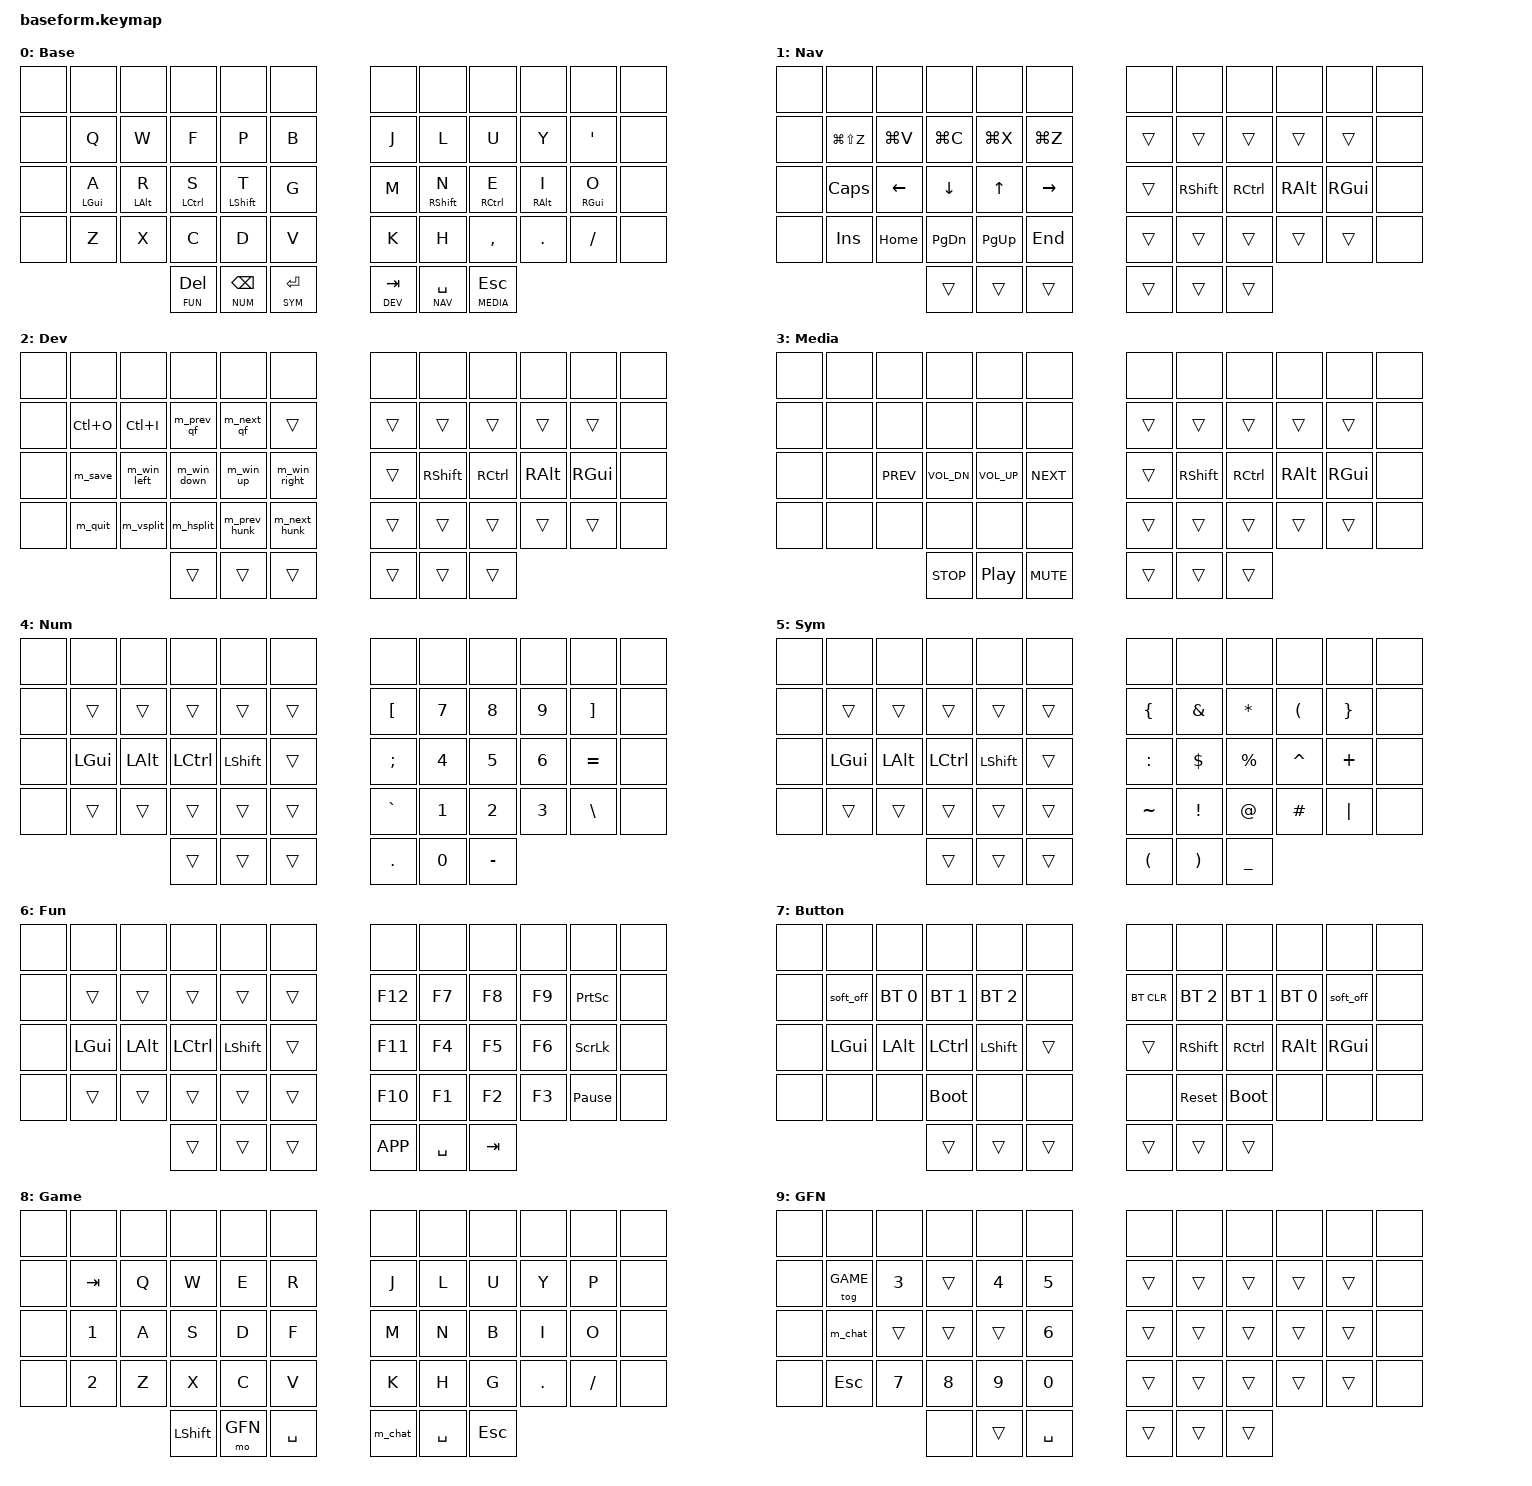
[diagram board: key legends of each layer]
#include <behaviors.dtsi>
#include <dt-bindings/zmk/keys.h>
#include <dt-bindings/zmk/bt.h>
#include <dt-bindings/zmk/ext_power.h>
#include <dt-bindings/zmk/outputs.h>
#include <dt-bindings/zmk/mouse.h>

// Layer definitions
#define BASE 0
#define NAV  1
#define DEV 2
#define MEDIA 3
#define NUM  4
#define SYM  5
#define FUN  6
#define BUTTON 7
#define GAME 8
#define GFN 9

&soft_off {
    hold-time-ms = <2000>;
};

/ {

  behaviors {
    // Home row mods - left hand
    hm_l: homerow_mods_left {
      compatible = "zmk,behavior-hold-tap";
      label = "HOMEROW_MODS_LEFT";
      #binding-cells = <2>;
      tapping-term-ms = <170>;
      quick-tap-ms = <175>;
      require-prior-idle-ms = <150>;
      flavor = "balanced";
      bindings = <&kp>, <&kp>;
      hold-trigger-key-positions = <6 7 8 9 10 11 18 19 20 21 22 23 30 31 32 33 34 35 42 43 44 45 46 47 51 52 53>; // right hand + right thumbs (54-key)
      hold-trigger-on-release;
    };

    // Home row mods - right hand
    hm_r: homerow_mods_right {
      compatible = "zmk,behavior-hold-tap";
      label = "HOMEROW_MODS_RIGHT";
      #binding-cells = <2>;
      tapping-term-ms = <170>;
      quick-tap-ms = <175>;
      require-prior-idle-ms = <150>;
      flavor = "balanced";
      bindings = <&kp>, <&kp>;
      hold-trigger-key-positions = <0 1 2 3 4 5 12 13 14 15 16 17 24 25 26 27 28 29 36 37 38 39 40 41 48 49 50>; // left hand + left thumbs (54-key)
      hold-trigger-on-release;
    };

    // Layer tap for thumb keys
    lt_spc: layer_tap_space {
      compatible = "zmk,behavior-hold-tap";
      label = "LAYER_TAP_SPACE";
      #binding-cells = <2>;
      tapping-term-ms = <170>;
      quick-tap-ms = <175>;
      flavor = "tap-preferred";
      bindings = <&mo>, <&kp>;
    };

    lt_bspc: layer_tap_backspace {
      compatible = "zmk,behavior-hold-tap";
      label = "LAYER_TAP_BACKSPACE";
      #binding-cells = <2>;
      tapping-term-ms = <170>;
      quick-tap-ms = <175>;
      flavor = "tap-preferred";
      bindings = <&mo>, <&kp>;
    };
  };

  combos {
    compatible = "zmk,combos";

    // CMD+C (Copy) - using left GUI
    combo_copy_left {
      timeout-ms = <40>;
      require-prior-idle-ms = <150>;
      key-positions = <25 39>;  // A(GUI) + C
      bindings = <&kp LG(C)>;
      layers = <0>;
    };

    // CMD+C (Copy) - using right GUI
    combo_copy_right {
      timeout-ms = <40>;
      require-prior-idle-ms = <150>;
      key-positions = <34 39>;  // O(GUI) + C
      bindings = <&kp LG(C)>;
      layers = <0>;
    };

    // CMD+V (Paste) - using left GUI
    combo_paste_left {
      timeout-ms = <40>;
      require-prior-idle-ms = <150>;
      key-positions = <25 41>;  // A(GUI) + V
      bindings = <&kp LG(V)>;
      layers = <0>;
    };

    // CMD+V (Paste) - using right GUI
    combo_paste_right {
      timeout-ms = <40>;
      require-prior-idle-ms = <150>;
      key-positions = <34 41>;  // O(GUI) + V
      bindings = <&kp LG(V)>;
      layers = <0>;
    };

    // CMD+X (Cut) - using left GUI
    combo_cut_left {
      timeout-ms = <40>;
      require-prior-idle-ms = <150>;
      key-positions = <25 38>;  // A(GUI) + X
      bindings = <&kp LG(X)>;
      layers = <0>;
    };

    // CMD+X (Cut) - using right GUI
    combo_cut_right {
      timeout-ms = <40>;
      require-prior-idle-ms = <150>;
      key-positions = <34 38>;  // O(GUI) + X
      bindings = <&kp LG(X)>;
      layers = <0>;
    };

    // CMD+Z (Undo) - using left GUI
    combo_undo_left {
      timeout-ms = <40>;
      require-prior-idle-ms = <150>;
      key-positions = <25 37>;  // A(GUI) + Z
      bindings = <&kp LG(Z)>;
      layers = <0>;
    };

    // CMD+Z (Undo) - using right GUI
    combo_undo_right {
      timeout-ms = <40>;
      require-prior-idle-ms = <150>;
      key-positions = <34 37>;  // O(GUI) + Z
      bindings = <&kp LG(Z)>;
      layers = <0>;
    };

    // CMD+W (Close) - using left GUI
    combo_close_left {
      timeout-ms = <40>;
      require-prior-idle-ms = <150>;
      key-positions = <25 14>;  // A(GUI) + W
      bindings = <&kp LG(W)>;
      layers = <0>;
    };

    // CMD+W (Close) - using right GUI
    combo_close_right {
      timeout-ms = <40>;
      require-prior-idle-ms = <150>;
      key-positions = <34 14>;  // O(GUI) + W
      bindings = <&kp LG(W)>;
      layers = <0>;
    };

    // CMD+Space (Spotlight) - using left GUI
    combo_spotlight_left {
      timeout-ms = <40>;
      require-prior-idle-ms = <150>;
      key-positions = <25 52>;  // A(GUI) + Space
      bindings = <&kp LG(SPACE)>;
      layers = <0>;
    };

    // CMD+Space (Spotlight) - using right GUI
    combo_spotlight_right {
      timeout-ms = <40>;
      require-prior-idle-ms = <150>;
      key-positions = <34 52>;  // O(GUI) + Space
      bindings = <&kp LG(SPACE)>;
      layers = <0>;
    };

    // CMD+Tab (App Switcher) - using left GUI + TAB thumb
    combo_appswitcher_left {
      timeout-ms = <40>;
      require-prior-idle-ms = <150>;
      key-positions = <25 51>;  // A(GUI) + Tab
      bindings = <&kp LG(TAB)>;
      layers = <0>;
    };

    // CMD+Tab (App Switcher) - using right GUI + TAB thumb
    combo_appswitcher_right {
      timeout-ms = <40>;
      require-prior-idle-ms = <150>;
      key-positions = <34 51>;  // O(GUI) + Tab
      bindings = <&kp LG(TAB)>;
      layers = <0>;
    };

    // Game mode toggle: Q+W+F on BASE or GAME (left top row, pinky side)
    combo_game_toggle {
      timeout-ms = <30>;
      require-prior-idle-ms = <150>;
      key-positions = <13 14 15>;  // Q + W + F
      bindings = <&tog GAME>;
      layers = <0 GAME>;
    };

    // BUTTON layer, momentary while Z+X+C are held on BASE
    combo_button_layer {
      timeout-ms = <50>;
      require-prior-idle-ms = <150>;
      key-positions = <37 38 39>;  // Z + X + C
      bindings = <&mo BUTTON>;
      layers = <0>;
    };
  };

  macros {
    m_save: m_save {
      compatible = "zmk,behavior-macro";
      #binding-cells = <0>;
      bindings = <&kp COLON &kp W &kp RET>;
    };
    m_quit: m_quit {
      compatible = "zmk,behavior-macro";
      #binding-cells = <0>;
      bindings = <&kp COLON &kp Q &kp RET>;
    };
    m_next_hunk: m_next_hunk {
      compatible = "zmk,behavior-macro";
      #binding-cells = <0>;
      bindings = <&kp RBKT &kp C>;
    };
    m_prev_hunk: m_prev_hunk {
      compatible = "zmk,behavior-macro";
      #binding-cells = <0>;
      bindings = <&kp LBKT &kp C>;
    };
    m_next_qf: m_next_qf {
      compatible = "zmk,behavior-macro";
      #binding-cells = <0>;
      bindings = <&kp RBKT &kp Q>;
    };
    m_prev_qf: m_prev_qf {
      compatible = "zmk,behavior-macro";
      #binding-cells = <0>;
      bindings = <&kp LBKT &kp Q>;
    };
    m_win_left: m_win_left {
      compatible = "zmk,behavior-macro";
      #binding-cells = <0>;
      bindings = <&kp LC(W) &kp H>;
    };
    m_win_down: m_win_down {
      compatible = "zmk,behavior-macro";
      #binding-cells = <0>;
      bindings = <&kp LC(W) &kp J>;
    };
    m_win_up: m_win_up {
      compatible = "zmk,behavior-macro";
      #binding-cells = <0>;
      bindings = <&kp LC(W) &kp K>;
    };
    m_win_right: m_win_right {
      compatible = "zmk,behavior-macro";
      #binding-cells = <0>;
      bindings = <&kp LC(W) &kp L>;
    };
    m_vsplit: m_vsplit {
      compatible = "zmk,behavior-macro";
      #binding-cells = <0>;
      bindings = <&kp LC(W) &kp V>;
    };
    m_hsplit: m_hsplit {
      compatible = "zmk,behavior-macro";
      #binding-cells = <0>;
      bindings = <&kp LC(W) &kp S>;
    };

    // Chat: Enter to open the chat box, then leave game mode so Colemak-DH types normally
    m_chat: m_chat {
      compatible = "zmk,behavior-macro";
      #binding-cells = <0>;
      bindings = <&kp RET &tog GAME>;
    };
  };

  keymap {
    compatible = "zmk,keymap";

    // Layer 0: BASE (Colemak Mod-DH with GACS home row mods) - 54 keys
    base_layer {
      display-name = "Base";
      bindings = <
        // Number row (12 keys)
        &none  &none  &none  &none  &none  &none     &none  &none  &none  &none  &none  &none
        // Top letter row (12 keys)
        &none  &kp Q         &kp W         &kp F         &kp P         &kp B       &kp J  &kp L         &kp U         &kp Y         &kp APOS      &none
        // Home row with mods (12 keys)
        &none  &hm_l LGUI A  &hm_l LALT R  &hm_l LCTRL S &hm_l LSHFT T &kp G       &kp M  &hm_r RSHFT N &hm_r RCTRL E &hm_r RALT I  &hm_r RGUI O  &none
        // Bottom row (12 keys)
        &none  &kp Z         &kp X         &kp C         &kp D         &kp V       &kp K  &kp H         &kp COMMA     &kp DOT       &kp FSLH      &none
        // Thumb keys (6 keys)
                                           &lt_bspc FUN DEL  &lt_bspc NUM BSPC  &lt_bspc SYM RET     &lt_spc DEV TAB  &lt_spc NAV SPACE  &lt_spc MEDIA ESC
      >;
    };

    // Layer 1: NAV (Left hand - Navigation with inverted-T arrows) - 54 keys
    nav_layer {
      display-name = "Nav";
      bindings = <
        // Number row
        &none  &none  &none  &none  &none  &none     &none  &none  &none  &none  &none  &none
        // Top row
        &none  &kp LG(LS(Z))  &kp LG(V)  &kp LG(C)  &kp LG(X)  &kp LG(Z)     &trans  &trans  &trans  &trans  &trans  &none
        // Home row
        &none  &kp CAPS  &kp LEFT  &kp DOWN  &kp UP  &kp RIGHT     &trans  &kp RSHFT  &kp RCTRL  &kp RALT  &kp RGUI  &none
        // Bottom row
        &none  &kp INS  &kp HOME  &kp PG_DN  &kp PG_UP  &kp END     &trans  &trans  &trans  &trans  &trans  &none
        // Thumbs
                                &trans  &trans  &trans     &trans  &trans  &trans
      >;
    };

    // Layer 2: DEV (Right thumb hold - nvim diff/save/window/jumplist) - 54 keys
    dev_layer {
      display-name = "Dev";
      bindings = <
        // Number row (12 keys - all none)
        &none  &none  &none  &none  &none  &none     &none  &none  &none  &none  &none  &none
        // Top row: jumplist + quickfix on left; right hand trans
        &none  &kp LC(O)   &kp LC(I)    &m_prev_qf   &m_next_qf   &trans          &trans  &trans     &trans     &trans     &trans     &none
        // Home row: save + window movement on left; right home row mods preserved
        &none  &m_save     &m_win_left  &m_win_down  &m_win_up    &m_win_right    &trans  &kp RSHFT  &kp RCTRL  &kp RALT   &kp RGUI   &none
        // Bottom row: quit + splits + hunk nav on left; right hand trans
        &none  &m_quit     &m_vsplit    &m_hsplit    &m_prev_hunk &m_next_hunk    &trans  &trans     &trans     &trans     &trans     &none
        // Thumbs (all transparent)
                                        &trans  &trans  &trans     &trans  &trans  &trans
      >;
    };

    // Layer 3: MEDIA (Left hand - Media controls) - 54 keys
    media_layer {
      display-name = "Media";
      bindings = <
        // Number row
        &none  &none  &none  &none  &none  &none     &none  &none  &none  &none  &none  &none
        // Top row
        &none  &none  &none  &none  &none  &none     &trans  &trans  &trans  &trans  &trans  &none
        // Home row
        &none  &none  &kp C_PREV  &kp C_VOL_DN  &kp C_VOL_UP  &kp C_NEXT     &trans  &kp RSHFT  &kp RCTRL  &kp RALT  &kp RGUI  &none
        // Bottom row
        &none  &none  &none  &none  &none  &none     &trans  &trans  &trans  &trans  &trans  &none
        // Thumbs
                                &kp C_STOP  &kp C_PP  &kp C_MUTE     &trans  &trans  &trans
      >;
    };

    // Layer 4: NUM (Right hand - Number pad) - 54 keys
    num_layer {
      display-name = "Num";
      bindings = <
        // Number row
        &none  &none  &none  &none  &none  &none     &none  &none  &none  &none  &none  &none
        // Top row
        &none  &trans  &trans  &trans  &trans  &trans     &kp LBKT  &kp N7  &kp N8  &kp N9  &kp RBKT  &none
        // Home row
        &none  &kp LGUI  &kp LALT  &kp LCTRL  &kp LSHFT  &trans     &kp SEMI  &kp N4  &kp N5  &kp N6  &kp EQUAL  &none
        // Bottom row
        &none  &trans  &trans  &trans  &trans  &trans     &kp GRAVE  &kp N1  &kp N2  &kp N3  &kp BSLH  &none
        // Thumbs
                                &trans  &trans  &trans     &kp DOT  &kp N0  &kp MINUS
      >;
    };

    // Layer 5: SYM (Right hand - Symbols) - 54 keys
    sym_layer {
      display-name = "Sym";
      bindings = <
        // Number row
        &none  &none  &none  &none  &none  &none     &none  &none  &none  &none  &none  &none
        // Top row
        &none  &trans  &trans  &trans  &trans  &trans     &kp LBRC  &kp AMPS  &kp ASTRK  &kp LPAR  &kp RBRC  &none
        // Home row
        &none  &kp LGUI  &kp LALT  &kp LCTRL  &kp LSHFT  &trans     &kp COLON  &kp DLLR  &kp PRCNT  &kp CARET  &kp PLUS  &none
        // Bottom row
        &none  &trans  &trans  &trans  &trans  &trans     &kp TILDE  &kp EXCL  &kp AT  &kp HASH  &kp PIPE  &none
        // Thumbs
                                &trans  &trans  &trans     &kp LPAR  &kp RPAR  &kp UNDER
      >;
    };

    // Layer 6: FUN (Right hand - Function keys) - 54 keys
    fun_layer {
      display-name = "Fun";
      bindings = <
        // Number row
        &none  &none  &none  &none  &none  &none     &none  &none  &none  &none  &none  &none
        // Top row
        &none  &trans  &trans  &trans  &trans  &trans     &kp F12  &kp F7  &kp F8  &kp F9  &kp PSCRN  &none
        // Home row
        &none  &kp LGUI  &kp LALT  &kp LCTRL  &kp LSHFT  &trans     &kp F11  &kp F4  &kp F5  &kp F6  &kp SLCK  &none
        // Bottom row
        &none  &trans  &trans  &trans  &trans  &trans     &kp F10  &kp F1  &kp F2  &kp F3  &kp PAUSE_BREAK  &none
        // Thumbs
                                &trans  &trans  &trans     &kp K_APP  &kp SPACE  &kp TAB
      >;
    };

    // Layer 7: BUTTON (Additional controls and Bluetooth/System) - 54 keys
    button_layer {
      display-name = "Button";
      bindings = <
        // Number row
        &none  &none  &none  &none  &none  &none     &none  &none  &none  &none  &none  &none
        // Top row
        &none  &soft_off  &bt BT_SEL 0  &bt BT_SEL 1  &bt BT_SEL 2  &none          &bt BT_CLR  &bt BT_SEL 2  &bt BT_SEL 1  &bt BT_SEL 0  &soft_off  &none
        // Home row
        &none  &kp LGUI  &kp LALT  &kp LCTRL  &kp LSHFT  &trans     &trans  &kp RSHFT  &kp RCTRL  &kp RALT  &kp RGUI  &none
        // Bottom row
        &none  &none  &none  &bootloader  &none       &none     &none  &sys_reset  &bootloader  &none  &none  &none
        // Thumbs
                                &trans  &trans  &trans     &trans  &trans  &trans
      >;
    };


    // Layer 8: GAME (WoW, QWERTY keycodes, no hold-taps; right half = WoW window keys) - 54 keys
    game_layer {
      display-name = "Game";
      bindings = <
        // Number row
        &none  &none  &none  &none  &none  &none     &none  &none  &none  &none  &none  &none
        // Top row
        &none  &kp TAB  &kp Q  &kp W  &kp E  &kp R     &kp J  &kp L  &kp U  &kp Y  &kp P  &none
        // Home row
        &none  &kp N1  &kp A  &kp S  &kp D  &kp F     &kp M  &kp N  &kp B  &kp I  &kp O  &none
        // Bottom row
        &none  &kp N2  &kp Z  &kp X  &kp C  &kp V     &kp K  &kp H  &kp G  &kp DOT  &kp FSLH  &none
        // Thumbs
                                &kp LSHFT  &mo GFN  &kp SPACE     &m_chat  &kp SPACE  &kp ESC
      >;
    };

    // Layer 9: GFN (held from GAME via left middle thumb; W/A/S/D stay transparent) - 54 keys
    gfn_layer {
      display-name = "GFN";
      bindings = <
        // Number row
        &none  &none  &none  &none  &none  &none     &none  &none  &none  &none  &none  &none
        // Top row
        &none  &tog GAME  &kp N3  &trans  &kp N4  &kp N5     &trans  &trans  &trans  &trans  &trans  &none
        // Home row
        &none  &m_chat  &trans  &trans  &trans  &kp N6     &trans  &trans  &trans  &trans  &trans  &none
        // Bottom row
        &none  &kp ESC  &kp N7  &kp N8  &kp N9  &kp N0     &trans  &trans  &trans  &trans  &trans  &none
        // Thumbs
                                &none  &trans  &kp SPACE     &trans  &trans  &trans
      >;
    };

  };
};
